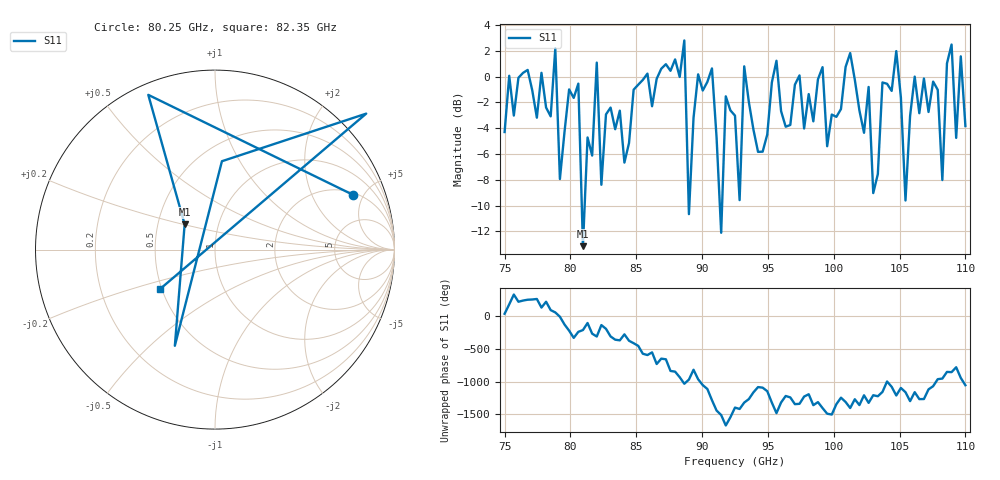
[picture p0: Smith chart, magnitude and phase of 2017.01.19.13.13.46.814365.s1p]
!Created with skrf (http://scikit-rf.org).
# GHz S RI R 50.0
!freq ReS11 ImS11
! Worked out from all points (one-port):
!   101 points, 75 GHz to 110 GHz, reference 50 ohm
!   lowest |S11| = -13.2 dB at 80.95 GHz (marker M1), VSWR 1.56, Z = 34.3 + j10.1 ohm
!   |S11| at or under -10 dB: 80.86243 GHz to 81.08091 GHz (218.5 MHz wide, 0.27 % of centre); 88.98261 GHz to 89.03136 GHz (48.75 MHz wide, 0.0548 % of centre); 91.3499 GHz to 91.51997 GHz (170.1 MHz wide, 0.186 % of centre)
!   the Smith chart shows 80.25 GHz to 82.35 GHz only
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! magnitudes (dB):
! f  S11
! 75 GHz  -4.3
! 78.85 GHz  2.2
! 79.2 GHz  -7.9
! 79.55 GHz  -4.3
! 80.6 GHz  -0.5
! 80.95 GHz  -13.2
! 82 GHz  1.1
! 82.35 GHz  -8.4
! 83.75 GHz  -2.6
! 88.3 GHz  0.0
! 88.65 GHz  2.8
! 89 GHz  -10.7
! 89.7 GHz  0.2
! 90.75 GHz  0.6
! 91.45 GHz  -12.1
! 91.8 GHz  -1.5
! 92.5 GHz  -3.0
! 92.85 GHz  -9.6
! 93.2 GHz  0.8
! 94.25 GHz  -5.8
! 97.05 GHz  -0.6
! 99.5 GHz  -5.4
! 101.2 GHz  1.8
! 103 GHz  -9.0
! 104.8 GHz  2.0
! 105.5 GHz  -9.6
! 105.8 GHz  -3.0
! 110 GHz  -3.8
